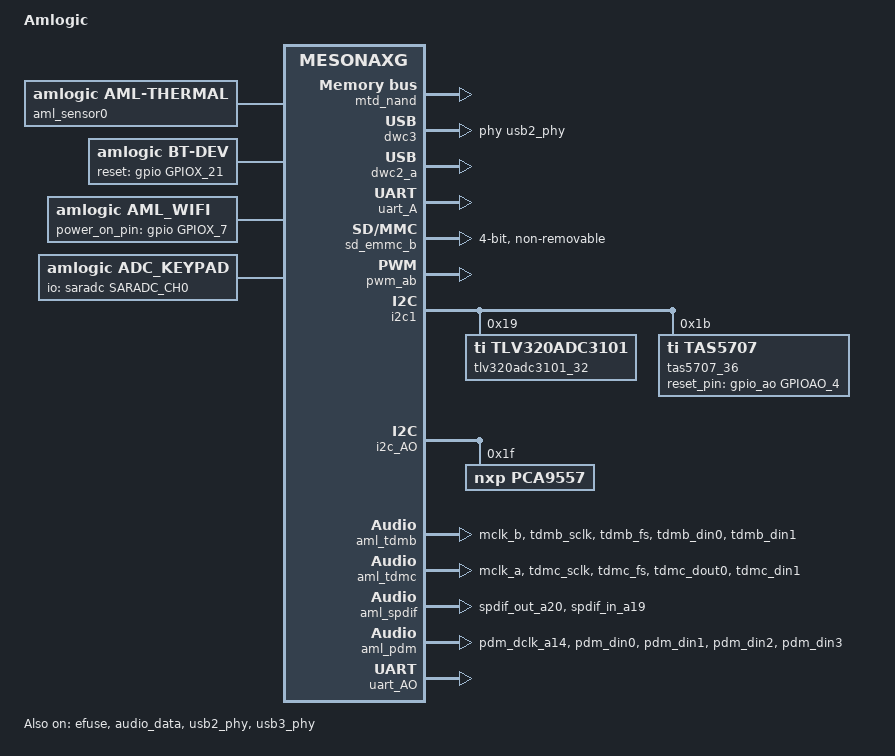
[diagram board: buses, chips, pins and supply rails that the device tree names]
/*
 * arch/arm64/boot/dts/amlogic/axg_s420_128m.dts
 *
 * Copyright (C) 2017 Amlogic, Inc. All rights reserved.
 *
 * This program is free software; you can redistribute it and/or modify
 * it under the terms of the GNU General Public License as published by
 * the Free Software Foundation; either version 2 of the License, or
 * (at your option) any later version.
 *
 * This program is distributed in the hope that it will be useful, but WITHOUT
 * ANY WARRANTY; without even the implied warranty of MERCHANTABILITY or
 * FITNESS FOR A PARTICULAR PURPOSE.  See the GNU General Public License for
 * more details.
 *
 */

/dts-v1/;

#include "mesonaxg.dtsi"

/ {
	model = "Amlogic";
	amlogic-dt-id= "axg_s420_128m";
	compatible = "amlogic, axg";
	interrupt-parent = <&gic>;
	#address-cells = <2>;
	#size-cells = <2>;

	aliases {
		serial0 = &uart_AO;
		serial1 = &uart_A;
	};

	memory@00000000 {
		device_type = "memory";
		linux,usable-memory = <0x0 0x000000 0x0 0x8000000>;
	};

	reserved-memory {
		#address-cells = <2>;
		#size-cells = <2>;
		ranges;
		/* global autoconfigured region for contiguous allocations */
		secmon_reserved:linux,secmon {
			compatible = "shared-dma-pool";
			reusable;
			size = <0x0 0x300000>;
			alignment = <0x0 0x300000>;
			alloc-ranges = <0x0 0x05000000 0x0 0x300000>;
		};

		secos_reserved:linux,secos {
			status = "disable";
			compatible = "amlogic, aml_secos_memory";
			reg = <0x0 0x05300000 0x0 0x2000000>;
			no-map;
		};
	};
	mtd_nand {
		compatible = "amlogic, aml_mtd_nand";
		dev_name = "mtdnand";
		status = "okay";
		reg = <0x0 0xFFE07800 0x0 0x200>;
		interrupts = <	0 34 1 >;
		pinctrl-names = "nand_rb_mod","nand_norb_mod", "nand_cs_only";
		pinctrl-0 = <&all_nand_pins>;
		pinctrl-1 = <&all_nand_pins>;
		pinctrl-2 = <&nand_cs_pins>;
		device_id = <0>;

		/*fip/tpl configurations, must be same
		 * with uboot if bl_mode was set as 1
		 * bl_mode: 0 compact mode; 1 descrete mode
		 * if bl_mode was set as 1, fip configeration will work
		 */
		bl_mode = <1>;
		/*copy count of fip*/
		fip_copies = <4>;
		/*size of each fip copy */
		fip_size = <0x200000>;
		nand_clk_ctrl = <0xFFE07000>;
		plat-names = "bootloader","nandnormal";
		plat-num = <2>;
		plat-part-0 = <&bootloader>;
		plat-part-1 = <&nandnormal>;
		bootloader: bootloader{
			enable_pad ="ce0";
			busy_pad = "rb0";
			timming_mode = "mode5";
			bch_mode = "bch8_1k";
			t_rea = <20>;
			t_rhoh = <15>;
			chip_num = <1>;
			part_num = <0>;
			rb_detect = <1>;
		};
		nandnormal: nandnormal{
			enable_pad ="ce0";
			busy_pad = "rb0";
			timming_mode = "mode5";
			bch_mode = "bch8_1k";
			plane_mode = "twoplane";
			t_rea = <20>;
			t_rhoh = <15>;
			chip_num = <2>;
			part_num = <3>;
			partition = <&nand_partitions>;
			rb_detect = <1>;
		};
		nand_partitions:nand_partition{
			/*
			 * if bl_mode is 1, tpl size was generate by
			 * fip_copies * fip_size which
			 * will not skip bad when calculating
			 * the partition size;
			 *
			 * if bl_mode is 0,
			 * tpl partition must be comment out.
			 */
			tpl{
				offset=<0x0 0x0>;
				size=<0x0 0x0>;
			};
			misc{
				offset=<0x0 0x0>;
				size=<0x0 0x200000>;
			};
			logo{
				offset=<0x0 0x0>;
				size=<0x0 0x200000>;
			};
			recovery{
				offset=<0x0 0x0>;
				size=<0x0 0x1000000>;
			};
			boot{
				offset=<0x0 0x0>;
				size=<0x0 0xF00000>;
			};
			system{
				offset=<0x0 0x0>;
				size=<0x0 0x11800000>;
			};
			data{
				offset=<0xffffffff 0xffffffff>;
				size=<0x0 0x0>;
			};
		};
	};


	aml_sensor0: aml-sensor@0 {
		compatible = "amlogic, aml-thermal";
		device_name = "thermal";
		#thermal-sensor-cells = <1>;
		cooling_devices {
			cpufreq_cool_cluster0 {
				min_state = <1000000>;
				dyn_coeff = <140>;
				cluster_id = <0>;
				node_name = "cpufreq_cool0";
				device_type = "cpufreq";
			};
			cpucore_cool_cluster0 {
				min_state = <1>;
				dyn_coeff = <0>;
				cluster_id = <0>;
				node_name = "cpucore_cool0";
				device_type = "cpucore";
			};
		};
		cpufreq_cool0:cpufreq_cool0 {
			#cooling-cells = <2>; /* min followed by max */
		};
		cpucore_cool0:cpucore_cool0 {
			#cooling-cells = <2>; /* min followed by max */
		};
	};
	thermal-zones {
		soc_thermal {
			polling-delay = <1000>;
			polling-delay-passive = <100>;
			sustainable-power = <1050>;

			thermal-sensors = <&aml_sensor0 3>;

			trips {
				switch_on: trip-point@0 {
					temperature = <70000>;
					hysteresis = <1000>;
					type = "passive";
				};
				control: trip-point@1 {
					temperature = <80000>;
					hysteresis = <1000>;
					type = "passive";
				};
				hot: trip-point@2 {
					temperature = <85000>;
					hysteresis = <5000>;
					type = "hot";
				};
				critical: trip-point@3 {
					temperature = <260000>;
					hysteresis = <1000>;
					type = "critical";
				};
			};

			cooling-maps {
				cpufreq_cooling_map {
					trip = <&control>;
					cooling-device = <&cpufreq_cool0 0 4>;
					contribution = <1024>;
				};
				cpucore_cooling_map {
					trip = <&control>;
					cooling-device = <&cpucore_cool0 0 3>;
					contribution = <1024>;
				};
			};
		};
	};

	dwc3: dwc3@ff500000 {
		compatible = "synopsys, dwc3";
		status = "okay";
		reg = <0x0 0xff500000 0x0 0x100000>;
		interrupts = <0 30 4>;
		usb-phy = <&usb2_phy>, <&usb3_phy>;
		cpu-type = "gxl";
		clock-src = "usb3.0";
		clocks = <&clkc CLKID_USB_GENERAL>;
		clock-names = "dwc_general";
	};

	usb2_phy: usb2phy@ffe09000 {
		compatible = "amlogic, amlogic-new-usb2";
		status = "okay";
		portnum = <4>;
		reg = <0x0 0xffe09000 0x0 0x80
					0x0 0xffd01008 0x0 0x4>;
	};

	usb3_phy: usb3phy@ffe09080 {
		compatible = "amlogic, amlogic-new-usb3";
		status = "okay";
		portnum = <0>;
		reg = <0x0 0xffe09080 0x0 0x20>;
		interrupts = <0 16 4>;
		otg = <1>;
		gpio-vbus-power = "GPIOAO_5";
		gpios = <&gpio_ao GPIOAO_5 GPIO_ACTIVE_HIGH>;
	};

	dwc2_a {
		compatible = "amlogic, dwc2";
		device_name = "dwc2_a";
		reg = <0x0 0xff400000 0x0 0x40000>;
		status = "okay";
		interrupts = <0 31 4>;
		pl-periph-id = <0>; /** lm name */
		clock-src = "usb0"; /** clock src */
		port-id = <0>;  /** ref to mach/usb.h */
		port-type = <2>;        /** 0: otg, 1: host, 2: slave */
		port-speed = <0>; /** 0: default, high, 1: full */
		port-config = <0>; /** 0: default */
		/*0:default,1:single,2:incr,3:incr4,4:incr8,5:incr16,6:disable*/
		port-dma = <0>;
		port-id-mode = <0>; /** 0: hardware, 1: sw_host, 2: sw_slave*/
		usb-fifo = <728>;
		cpu-type = "gxl";
		/** 0: normal, 1: otg+dwc3 host only, 2: otg+dwc3 device only*/
		controller-type = <3>;
		phy-reg = <0xffe09000>;
		phy-reg-size = <0xa0>;
		clocks = <&clkc CLKID_USB_GENERAL
			&clkc CLKID_USB1_TO_DDR
			&clkc CLKID_USB1>;
		clock-names = "usb_general",
			"usb1",
			"usb1_to_ddr";
	};

	uart_A: serial@ffd24000 {
		compatible = "amlogic, meson-uart";
		reg = <0x0 0xffd24000 0x0 0x18>;
		interrupts = <0 26 1>;
		status = "okay";
		clocks = <&xtal
			&clkc CLKID_UART0>;
		clock-names = "clk_uart",
			"clk_gate";
		fifosize = < 128 >;
		pinctrl-names = "default";
		pinctrl-0 = <&a_uart_pins>;
	};

	uart_B: serial@ffd23000 {
		compatible = "amlogic, meson-uart";
		reg = <0x0 0xffd23000 0x0 0x18>;
		interrupts = <0 75 1>;
		status = "disable";
		clocks = <&xtal
			&clkc CLKID_UART1>;
		clock-names = "clk_uart",
			"clk_gate";
		fifosize = < 64 >;
		pinctrl-names = "default";
		pinctrl-0 = <&b_uart_pins>;
	};

	/* Sound iomap */
	aml_snd_iomap {
		compatible = "amlogic, snd-iomap";
		status = "okay";
		#address-cells=<2>;
		#size-cells=<2>;
		ranges;
		pdm_bus {
			reg = <0x0 0xFF632000 0x0 0x2000>;
		};
		audiobus_base {
			reg = <0x0 0xFF642000 0x0 0x2000>;
		};
	};
	pdm_codec:dummy{
		#sound-dai-cells = <0>;
		compatible = "amlogic, pdm_dummy_codec";
		status = "okay";
	};
	dummy_codec:dummy{
		#sound-dai-cells = <0>;
		compatible = "amlogic, aml_dummy_codec";
		status = "okay";
	};

	auge_sound {
		compatible = "amlogic, axg-sound-card";
		aml-audio-card,name = "AML-AUGESOUND";

		aml-audio-card,loopback = <&aml_loopback>;

		aml-audio-card,dai-link@0 {
			format = "dsp_a";
			mclk-fs = <256>;//512
			continuous-clock;
			//bitclock-inversion;
			//frame-inversion;
			bitclock-master = <&aml_tdma>;
			frame-master = <&aml_tdma>;
			cpu {
				sound-dai = <&aml_tdma>;
				dai-tdm-slot-tx-mask = <1 1>;
				dai-tdm-slot-rx-mask = <1 1>;
				dai-tdm-slot-num = <2>;
				dai-tdm-slot-width = <32>;
				system-clock-frequency = <12288000>;
			};
			codec {
				sound-dai = <&dummy_codec &dummy_codec>;
			};
		};

		aml-audio-card,dai-link@1 {
			format = "i2s";
			mclk-fs = <256>;
			//continuous-clock;
			//bitclock-inversion;
			//frame-inversion;
			bitclock-master = <&aml_tdmb>;
			frame-master = <&aml_tdmb>;
			cpu {
				sound-dai = <&aml_tdmb>;
				dai-tdm-slot-tx-mask = <1 1>;
				dai-tdm-slot-rx-mask = <1 1>;
				dai-tdm-slot-num = <2>;
				dai-tdm-slot-width = <32>;
			};
			codec {
				sound-dai = <&tlv320adc3101_32>;
					/*&tlv320adc3101_30>;*/
			};
		};

		aml-audio-card,dai-link@2 {
			format = "i2s";
			mclk-fs = <256>;
			continuous-clock;
			/* tdmb clk using tdmc so no bclk-inv */
			//bitclock-inversion;
			//frame-inversion;
			bitclock-master = <&aml_tdmc>;
			frame-master = <&aml_tdmc>;
			cpu {
				sound-dai = <&aml_tdmc>;
				dai-tdm-slot-tx-mask = <1 1>;
				dai-tdm-slot-rx-mask = <1 1>;
				dai-tdm-slot-num = <2>;
				dai-tdm-slot-width = <32>;
				system-clock-frequency = <12288000>;
			};
			codec {
				sound-dai = <&tas5707_36 &dummy_codec>;
			};
		};

		aml-audio-card,dai-link@3 {
			mclk-fs = <256>;
			cpu {
				sound-dai = <&aml_pdm>;
			};
			codec {
				/*
				 *enable external loopback
				 *and tlv320adc3101 as loopback
				 */
				/*sound-dai = <&pdm_codec &tlv320adc3101_32>;*/
				/*
				 * enable internal loopback
				 * or disable loopback
				 */
				sound-dai = <&pdm_codec>;
			};
		};

		aml-audio-card,dai-link@4 {
			mclk-fs = <128>;
			cpu {
				sound-dai = <&aml_spdif>;
			};
			codec {
				sound-dai = <&dummy_codec>;
			};
		};
	};

	bt-dev{
		compatible = "amlogic, bt-dev";
		dev_name = "bt-dev";
		status = "okay";
		gpio_reset = <&gpio       GPIOX_21       GPIO_ACTIVE_HIGH>;
	};

	wifi{
		compatible = "amlogic, aml_wifi";
		dev_name = "aml_wifi";
		status = "okay";
		interrupt_pin = <&gpio       GPIOX_6       GPIO_ACTIVE_HIGH>;
		irq_trigger_type = "GPIO_IRQ_LOW";
		power_on_pin = <&gpio       GPIOX_7       GPIO_ACTIVE_HIGH>;
		dhd_static_buf;    //if use bcm wifi, config dhd_static_buf
		pinctrl-names = "default";
		pinctrl-0 = <&wifi_32k_pins>;
		pwm_config = <&wifi_pwm_conf>;
	};

	wifi_pwm_conf:wifi_pwm_conf{
		pwm_channel1_conf {
			pwms = <&pwm_ab MESON_PWM_0 30541 0>;
			duty-cycle = <15270>;
			times = <10>;
		};
		pwm_channel2_conf {
			pwms = <&pwm_ab MESON_PWM_2 30500 0>;
			duty-cycle = <15250>;
			times = <12>;
		};
	};
	sd_emmc_c: emmc@ffe07000 {
		status = "disabled";
		compatible = "amlogic, meson-mmc-axg";
		reg = <0x0 0xffe07000 0x0 0x2000>;
		interrupts = <0 218 1>;
		pinctrl-names = "emmc_clk_cmd_pins", "emmc_all_pins";
		pinctrl-0 = <&emmc_clk_cmd_pins>;
		pinctrl-1 = <&emmc_conf_pull_up &emmc_conf_pull_done>;
		clocks = <&clkc CLKID_SD_EMMC_C>,
			   <&clkc CLKID_SD_EMMC_C_P0_COMP>,
			   <&clkc CLKID_FCLK_DIV2>,
			   <&clkc CLKID_FCLK_DIV5>,
			   <&xtal>;
		clock-names = "core", "clkin0", "clkin1", "clkin2", "xtal";

		bus-width = <8>;
		cap-sd-highspeed;
		cap-mmc-highspeed;
		mmc-ddr-1_8v;
		mmc-hs200-1_8v;

		max-frequency = <200000000>;
		non-removable;
		disable-wp;
		emmc {
			pinname = "emmc";
			ocr_avail = <0x200080>; /**VDD voltage 3.3 ~ 3.4 */
			caps = "MMC_CAP_8_BIT_DATA",
				 "MMC_CAP_MMC_HIGHSPEED",
				 "MMC_CAP_SD_HIGHSPEED",
				 "MMC_CAP_NONREMOVABLE",
				 "MMC_CAP_1_8V_DDR",
				 "MMC_CAP_HW_RESET",
				 "MMC_CAP_ERASE",
				 "MMC_CAP_CMD23";
			/*caps2 = "MMC_CAP2_HS200", "MMC_CAP2_HS400";*/
			f_min = <400000>;
			f_max = <100000000>;
			max_req_size = <0x20000>; /**128KB*/
			gpio_dat3 = <&gpio BOOT_3 GPIO_ACTIVE_HIGH>;
			hw_reset = <&gpio BOOT_9 GPIO_ACTIVE_HIGH>;
			card_type = <1>;
			/* 1:mmc card(include eMMC),
			 * 2:sd card(include tSD)
			 */
		};
	};

	sd_emmc_b:sdio@ffe05000 {
		status = "okay";
		compatible = "amlogic, meson-mmc-axg";
		reg = <0x0 0xffe05000 0x0 0x2000>;
		interrupts = <0 217 4>;
		pinctrl-names = "sdio_clk_cmd_pins", "sdio_all_pins";
		pinctrl-0 = <&sdio_clk_cmd_pins>;
		pinctrl-1 = <&sdio_all_pins>;
		clocks = <&clkc CLKID_SD_EMMC_B>,
			   <&clkc CLKID_SD_EMMC_B_P0_COMP>,
			   <&clkc CLKID_FCLK_DIV2>;
		clock-names = "core", "clkin0", "clkin1";

		bus-width = <4>;
		cap-sd-highspeed;
		cap-mmc-highspeed;
		max-frequency = <100000000>;
		non-removable;
		disable-wp;
		sdio {
			pinname = "sdio";
			ocr_avail = <0x200080>; /**VDD voltage 3.3 ~ 3.4 */
			caps = "MMC_CAP_4_BIT_DATA",
				 "MMC_CAP_MMC_HIGHSPEED",
				 "MMC_CAP_SD_HIGHSPEED",
				 "MMC_CAP_NONREMOVABLE",
				 "MMC_CAP_UHS_SDR12",
				 "MMC_CAP_UHS_SDR25",
				 "MMC_CAP_UHS_SDR50",
				 "MMC_CAP_UHS_SDR104",
				 "MMC_PM_KEEP_POWER",
				 "MMC_CAP_SDIO_IRQ";
			f_min = <400000>;
			f_max = <200000000>;
			max_req_size = <0x20000>; /**128KB*/
			card_type = <3>;
			/* 3:sdio device(ie:sdio-wifi),
			 * 4:SD combo (IO+mem) card
			 */
		};
	};

	adc_keypad {
		compatible = "amlogic, adc_keypad";
		status = "okay";
		key_name = "power", "vol-", "vol+", "wifi", "<<", ">>";
		key_num = <6>;
		io-channels = <&saradc SARADC_CH0>;
		io-channel-names = "key-chan-0";
		key_chan = <SARADC_CH0 SARADC_CH0 SARADC_CH0
					SARADC_CH0 SARADC_CH0 SARADC_CH0>;
		key_code = <116 114 115 139 105 106>;
		key_val = <0 143 266 389 512 635>; //val=voltage/1800mV*1023
		key_tolerance = <40 40 40 40 40 40>;
	};

	partitions: partitions{
		parts = <11>;
		part-0 = <&logo>;
		part-1 = <&recovery>;
		part-2 = <&rsv>;
		part-3 = <&tee>;
		part-4 = <&crypt>;
		part-5 = <&misc>;
		part-6 = <&instaboot>;
		part-7 = <&boot>;
		part-8 = <&system>;
		part-9 = <&cache>;
		part-10 = <&data>;

		logo:logo{
			pname = "logo";
			size = <0x0 0x2000000>;
			mask = <1>;
		};
		recovery:recovery{
			pname = "recovery";
			size = <0x0 0x2000000>;
			mask = <1>;
		};
		rsv:rsv{
			pname = "rsv";
			size = <0x0 0x800000>;
			mask = <1>;
		};
		tee:tee{
			pname = "tee";
			size = <0x0 0x800000>;
			mask = <1>;
		};
		crypt:crypt{
			pname = "crypt";
			size = <0x0 0x2000000>;
			mask = <1>;
		};
		misc:misc{
			pname = "misc";
			size = <0x0 0x2000000>;
			mask = <1>;
		};
		instaboot:instaboot{
			pname = "instaboot";
			size = <0x0 0x400000>;
			mask = <1>;
		};
		boot:boot
		{
			pname = "boot";
			size = <0x0 0x2000000>;
			mask = <1>;
		};
		system:system
		{
			pname = "system";
			size = <0x0 0x80000000>;
			mask = <1>;
		};
		cache:cache
		{
			pname = "cache";
			size = <0x0 0x20000000>;
			mask = <2>;
		};
		data:data
		{
			pname = "data";
			size = <0xffffffff 0xffffffff>;
			mask = <4>;
		};
	};

	unifykey{
		compatible = "amlogic, unifykey";
		status = "ok";

		unifykey-num = <6>;
		unifykey-index-0 = <&keysn_0>;
		unifykey-index-1 = <&keysn_1>;
		unifykey-index-2 = <&keysn_2>;
		unifykey-index-3 = <&keysn_3>;
		unifykey-index-4 = <&keysn_4>;
		unifykey-index-5 = <&keysn_5>;

		keysn_0: key_0{
			key-name = "usid";
			key-device = "normal";
			key-permit = "read","write","del";
		};
		keysn_1:key_1{
			key-name = "mac";
			key-device = "normal";
			key-permit = "read","write","del";
		};
		keysn_2:key_2{
			key-name = "secure_boot_set";
			key-device = "efuse";
			key-permit = "write";
		};
		keysn_3:key_3{
			key-name = "mac_bt";
			key-device = "normal";
			key-permit = "read","write","del";
			key-type  = "mac";
		};
		keysn_4:key_4{
			key-name = "mac_wifi";
			key-device = "normal";
			key-permit = "read","write","del";
			key-type = "mac";
		};
		keysn_5:key_5{
			key-name = "deviceid";
			key-device = "normal";
			key-permit = "read","write","del";
		};
	};//End unifykey
}; /* end of / */

&efuse {
	status = "ok";
};

&pwm_ab {
	status = "okay";
};
/* Audio Related start */
/* for spk board */
&i2c1 {
	status = "okay";
	pinctrl-names="default";
	pinctrl-0=<&b_i2c_master>;

	tlv320adc3101_32: tlv320adc3101_32@30 {
		compatible = "ti,tlv320adc3101";
		#sound-dai-cells = <0>;
		reg = <0x19>;
		differential_pair = <1>;
		status = "okay";
	};

	tas5707_36: tas5707_36@36 {
		compatible = "ti,tas5707";
		#sound-dai-cells = <0>;
		reg = <0x1b>;
		status = "okay";
		reset_pin = <&gpio_ao GPIOAO_4 0>;
	};

	tas5707_3a: tas5707_3a@3a {
		compatible = "ti,tas5707";
		#sound-dai-cells = <0>;
		reg = <0x1d>;
		status = "disable";
	};
};

/* for mic board */
&i2c_AO {
	status = "okay";
	pinctrl-names="default";
	pinctrl-0=<&ao_i2c_master_pin2>;

	pca9557:pca9557@0x1f {
		compatible = "nxp,pca9557";
		reg = <0x1f>;
		status = "okay";
	};
	tlv320adc3101_30: tlv320adc3101_30@30 {
		compatible = "ti,tlv320adc3101";
		#sound-dai-cells = <0>;
		reg = <0x18>;
		status = "disable";
	};
	tlv320adc3101_34: tlv320adc3101_34@30 {
		compatible = "ti,tlv320adc3101";
		#sound-dai-cells = <0>;
		reg = <0x1a>;
		status = "disable";
	};
	tlv320adc3101_36: tlv320adc3101_36@30 {
		compatible = "ti,tlv320adc3101";
		#sound-dai-cells = <0>;
		reg = <0x1b>;
		status = "disable";
	};
};

&audiobus {
	aml_tdma: tdma {
		compatible = "amlogic, axg-snd-tdma";
		#sound-dai-cells = <0>;
		dai-tdm-lane-slot-mask-in = <1 0>;
		dai-tdm-lane-slot-mask-out = <0 1>;
		/* select tdm lr/bclk src, see aml_axg_tdm.c */
		dai-tdm-clk-sel = <0>;
		clocks = <&clkaudio CLKID_AUDIO_MCLK_A
				&clkc CLKID_MPLL0>;
		clock-names = "mclk", "clk_srcpll";
		pinctrl-names = "tdm_pins";
		pinctrl-0 = <&tdmin_a &tdmout_a  &tdmout_a_data>;
	};

	aml_tdmb: tdmb {
		compatible = "amlogic, axg-snd-tdmb";
		#sound-dai-cells = <0>;
		dai-tdm-lane-slot-mask-out = <1 0>;
		dai-tdm-lane-slot-mask-in = <0 1>;
		dai-tdm-clk-sel = <1>;
		clocks = <&clkaudio CLKID_AUDIO_MCLK_B
				&clkc CLKID_MPLL1>;
		clock-names = "mclk", "clk_srcpll";
		pinctrl-names = "tdm_pins";
		pinctrl-0 = <&tdmb_mclk &tdmout_b &tdmin_b>;
	};

	aml_tdmc: tdmc {
		compatible = "amlogic, axg-snd-tdmc";
		#sound-dai-cells = <0>;
		dai-tdm-lane-slot-mask-out = <1 0>;
		dai-tdm-lane-slot-mask-in = <0 1>;
		dai-tdm-clk-sel = <2>;
		clocks = <&clkaudio CLKID_AUDIO_MCLK_C
				&clkc CLKID_MPLL2>;
		clock-names = "mclk", "clk_srcpll";
		pinctrl-names = "tdm_pins";
		pinctrl-0 = <&tdmc_mclk &tdmout_c &tdmin_c>;
	};

	aml_spdif: spdif {
		compatible = "amlogic, axg-snd-spdif";
		#sound-dai-cells = <0>;
		clocks = <&clkc CLKID_MPLL0
				&clkc CLKID_FCLK_DIV4
				&clkaudio CLKID_AUDIO_SPDIFIN
				&clkaudio CLKID_AUDIO_SPDIFOUT
				&clkaudio CLKID_AUDIO_SPDIFIN_CTRL
				&clkaudio CLKID_AUDIO_SPDIFOUT_CTRL>;
		clock-names = "sysclk", "fixed_clk", "gate_spdifin",
				"gate_spdifout", "clk_spdifin", "clk_spdifout";
		interrupts =
				<GIC_SPI 87 IRQ_TYPE_EDGE_RISING>;

		interrupt-names = "irq_spdifin";
		pinctrl-names = "spdif_pins";
		pinctrl-0 = <&spdifout &spdifin>;

		/*
		 * whether do asrc for pcm.
		 * if raw data, asrc is disabled automatically
		 * 0: "Disable",
		 * 1: "Enable:32K",
		 * 2: "Enable:44K",
		 * 3: "Enable:48K",
		 * 4: "Enable:88K",
		 * 5: "Enable:96K",
		 * 6: "Enable:176K",
		 * 7: "Enable:192K",
		 */
		auto_asrc = <0>;
		status = "okay";
	};

	aml_pdm: pdm {
		compatible = "amlogic, axg-snd-pdm";
		#sound-dai-cells = <0>;
		clocks = <&clkaudio CLKID_AUDIO_PDM
			&clkc CLKID_FCLK_DIV3
			&clkc CLKID_MPLL3
			&clkaudio CLKID_AUDIO_PDMIN0
			&clkaudio CLKID_AUDIO_PDMIN1>;
		clock-names = "gate",
			"sysclk_srcpll",
			"dclk_srcpll",
			"pdm_dclk",
			"pdm_sysclk";
		pinctrl-names = "pdm_pins";
		pinctrl-0 = <&pdmin>;
		filter_mode = <1>; /* mode 0~4, defalut:1 */
		status = "okay";
	};

	aml_loopback: loopback {
		compatible = "amlogic, snd-loopback";
		/*
		 * external loopback clk config
		 * enable clk while pdm record data
		 */
		/*clocks = <&clkc CLKID_MPLL1>;*/
		/*clock-names = "datalb_mpll";*/
		/*
		 * 0: out rate = in data rate;
		 * 1: out rate = loopback data rate;
		 */
		lb_mode = <0>;

		/* datain src
		 * 0: tdmin_a;
		 * 1: tdmin_b;
		 * 2: tdmin_c;
		 * 3: spdifin;
		 * 4: pdmin;
		 */
		datain_src = <4>;
		datain_chnum = <8>;
		datain_chmask = <0x7f>;

		/* tdmin_lb src
		 * 0: tdmoutA
		 * 1: tdmoutB
		 * 2: tdmoutC
		 * 3: PAD_tdminA
		 * 4: PAD_tdminB
		 * 5: PAD_tdminC
		 */
		/*if tdmin_lb >= 3, use external loopback*/
		datalb_src = <2>;
		datalb_chnum = <2>;
		/*config which data pin as loopback*/
		/*datalb-lane-mask-in = <0 1>;*/
		datalb_chmask = <0x1>;

		status = "okay";
	};

	audioresample: resample {
		compatible = "amlogic, axg-resample";
		clocks = <&clkc CLKID_MPLL3
				&clkaudio CLKID_AUDIO_MCLK_F
				&clkaudio CLKID_AUDIO_RESAMPLE_CTRL>;
		clock-names = "resample_pll", "resample_src", "resample_clk";
		/*same with toddr_src
		 *	TDMIN_A,
		 *	TDMIN_B,
		 *	TDMIN_C,
		 *	SPDIFIN,
		 *	PDMIN,
		 *	NONE,
		 *	TDMIN_LB,
		 *	LOOPBACK,
		 */
		resample_module = <3>;
		status = "okay";
	};
}; /* end of audiobus */

&pinctrl_periphs {
	tdmout_a: tdmout_a {
		mux {
			groups = "tdma_sclk",
				"tdma_fs";
			function = "tdma_out";
		};
	};

	tdmout_a_data: tdmout_a_data {
		mux {
			groups = "tdma_dout1_x15";
			function = "tdma_out";
		};
	};

	tdmin_a: tdmin_a {
		mux {
			groups = "tdma_din0";
			function = "tdma_in";
		};
	};

	tdmb_mclk: tdmb_mclk {
		mux {
			groups = "mclk_b";
			function = "mclk_b";
		};
	};

	tdmout_b: tdmout_b {
		mux {
			groups = "tdmb_sclk",
				"tdmb_fs";
			function = "tdmb_out";
		};
	};

	// tdmin and tdmout are the same pins. can't use at same time
	/*
	 *tdmin_b:tdmin_b {
	 *	mux {
	 *		groups = "tdmb_din0",
	 *			"tdmb_din1",
	 *			"tdmb_din2_a12",
	 *			"tdmb_din3_a13";
	 *		function = "tdmb_in";
	 *	};
	 *};
	 */

	tdmin_b: tdmin_b {
		mux {
			groups = "tdmb_din0",
				"tdmb_din1";
			function = "tdmb_in";
		};
	};

	tdmc_mclk: tdmc_mclk {
		mux {
			groups = "mclk_a";
			function = "mclk_a";
		};
	};

	tdmout_c:tdmout_c {
		mux {
			groups = "tdmc_sclk",
				"tdmc_fs",
				"tdmc_dout0";
			function = "tdmc_out";
		};
	};

	tdmin_c:tdmin_c {
		mux {
			groups = "tdmc_din1";
			function = "tdmc_in";
		};
	};

	spdifout: spidfout {
		mux {
			groups = "spdif_out_a20";
			function = "spdif_out";
		};
	};

	spdifin: spidfin {
		mux {
			groups = "spdif_in_a19";
			function = "spdif_in";
		};
	};

	pdmin: pdmin {
		mux {
			groups = "pdm_dclk_a14",
				"pdm_din0",
				"pdm_din1",
				"pdm_din2",
				"pdm_din3";
			function = "pdm";
		};
	};
}; /* end of pinctrl_periphs */
/* Audio Related End */

&aobus{
	uart_AO: serial@3000 {
		compatible = "amlogic, meson-uart";
		reg = <0x0 0x3000 0x0 0x18>;
		interrupts = <0 193 1>;
		status = "okay";
		clocks = <&xtal>;
		clock-names = "clk_uart";
		xtal_tick_en = <1>;
		fifosize = < 64 >;
		pinctrl-names = "default";
		pinctrl-0 = <&ao_uart_pins>;
		support-sysrq = <0>;	/* 0 not support , 1 support */
	};

	uart_AO_B: serial@4000 {
		compatible = "amlogic, meson-uart";
		reg = <0x0 0x4000 0x0 0x18>;
		interrupts = <0 197 1>;
		status = "disable";
		clocks = <&xtal>;
		clock-names = "clk_uart";
		fifosize = < 64 >;
		pinctrl-names = "default";
		pinctrl-0 = <&ao_b_uart_pins>;
	};
};

&audio_data{
	status = "okay";
};
